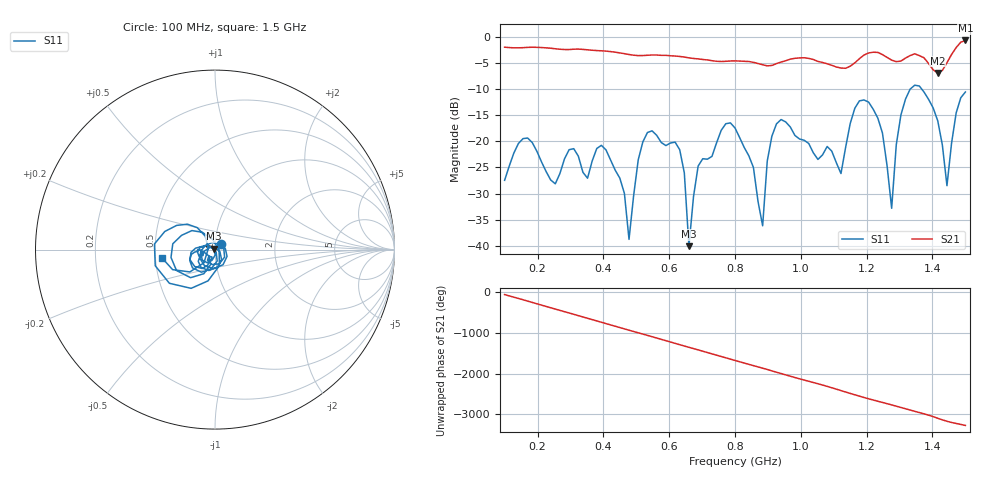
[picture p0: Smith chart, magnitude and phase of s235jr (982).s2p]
! NanoVNA-App
! Date: 2025-09-25 15:11:48
! Start: 100MHz Stop: 1,5GHz Points: 101
! S-Parameter data: F S11 S21 S12 S22
# Hz S RI R 50
!  Frequency  S11_Real  S11_Imag  S21_Real  S21_Imag  S12_Real  S12_Imag  S22_Real  S22_Imag
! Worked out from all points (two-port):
!   101 points, 100 MHz to 1.5 GHz, reference 50 ohm
!   highest |S21| = -0.68 dB at 1.5 GHz (marker M1); lowest = -6.9 dB at 1.416 GHz (marker M2)
!   |S21| within 3 dB of the highest: start of sweep to 620.7 MHz; 1.188 GHz to 1.256 GHz (67.64 MHz wide, 5.54 % of centre) (the widest 2 of 4)
!   lowest |S11| = -40.1 dB at 660 MHz (marker M3), VSWR 1.02, Z = 49.2 + j0.557 ohm
!   |S11| at or under -10 dB: start of sweep to 1.332 GHz; 1.367 GHz to end of sweep
!   S12 and S22 are empty: the file has one direction only
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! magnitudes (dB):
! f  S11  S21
! 100 MHz  -27.5  -2.0
! 170 MHz  -19.4  -2.0
! 338 MHz  -25.9  -2.4
! 408 MHz  -21.6  -2.7
! 478 MHz  -38.8  -3.4
! 520 MHz  -20.1  -3.6
! 576 MHz  -20.2  -3.5
! 632 MHz  -21.6  -3.7
! 660 MHz  -40.1  -4.0
! 688 MHz  -24.7  -4.2
! 800 MHz  -17.4  -4.6
! 884 MHz  -36.2  -5.3
! 926 MHz  -16.7  -5.1
! 1.038 GHz  -22.2  -4.3
! 1.122 GHz  -26.2  -6.0
! 1.206 GHz  -12.5  -3.1
! 1.276 GHz  -32.8  -4.4
! 1.29 GHz  -20.7  -4.7
! 1.332 GHz  -10.0  -3.6
! 1.416 GHz  -16.1  -6.9
! 1.444 GHz  -28.5  -4.9
! 1.5 GHz  -10.6  -0.7
